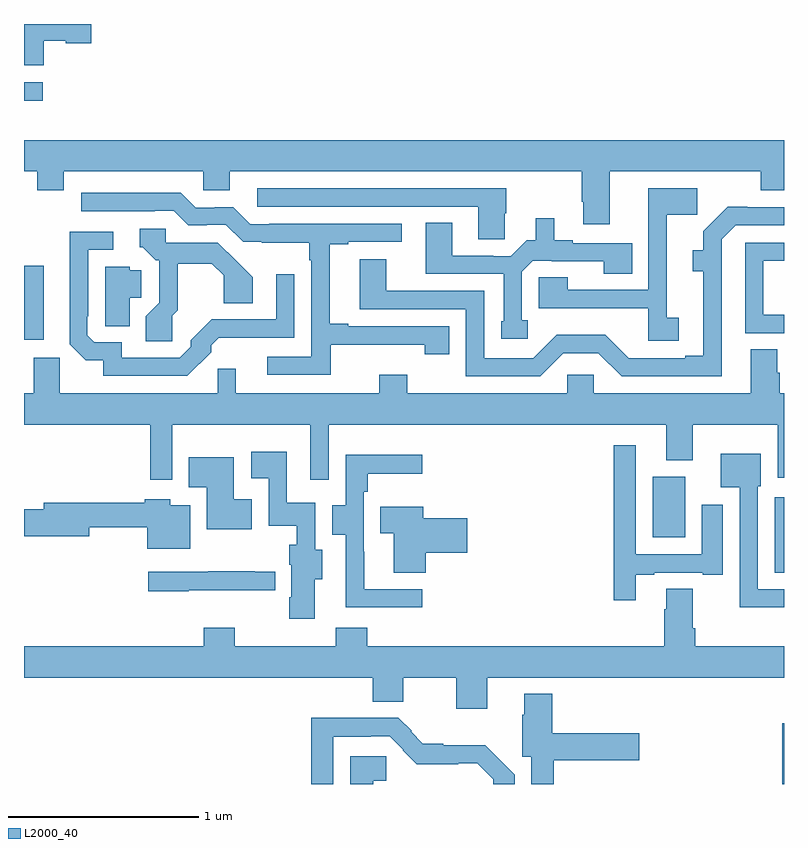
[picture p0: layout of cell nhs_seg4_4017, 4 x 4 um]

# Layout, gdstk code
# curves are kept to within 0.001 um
import gdstk
lib = gdstk.Library(unit=1e-6, precision=1e-09)
def R(c, l, rs):  # rectangles x0, y0, x1, y1
    for r in rs: c.add(gdstk.rectangle(r[:2], r[2:], *l))
def P(c, l, *ps):  # polygons
    for p in ps: c.add(gdstk.Polygon(p, *l))
L2000_40 = (2000, 40)

nhs_seg4_4017 = lib.new_cell('nhs_seg4_4017')
R(nhs_seg4_4017, L2000_40, [(326.992,822.9,327,823.219), (326.951,824.011,327,824.41), (326.309,824.198,326.479,824.518), (323,825.239,323.104,825.628), (323,826.497,323.098,826.593)])
P(nhs_seg4_4017, L2000_40, [(323.104,826.811),(323.22,826.811),(323.22,826.799),(323.353,826.799),(323.353,826.9),(323,826.9),(323,826.682),(323.104,826.682)],
  [(326.083,826.124),(326.878,826.124),(326.878,826.025),(327,826.025),(327,826.288),(323,826.288),(323,826.124),(323.069,826.124),(323.069,826.025),(323.209,826.025),(323.209,826.124),(323.943,826.124),(323.943,826.026),(324.082,826.026),(324.082,826.124),(325.936,826.124),(325.936,825.964),(325.943,825.964),(325.943,825.846),(326.083,825.846)],
  [(326.446,825.354),(326.383,825.354),(326.383,825.897),(326.544,825.897),(326.544,826.036),(326.286,826.036),(326.286,825.501),(325.863,825.501),(325.863,825.566),(325.709,825.566),(325.709,825.405),(325.819,825.405),(325.819,825.404),(326.286,825.404),(326.286,825.234),(326.446,825.234)],
  [(325.529,825.903),(325.539,825.903),(325.539,826.035),(324.228,826.035),(324.228,825.939),(325.391,825.939),(325.391,825.766),(325.529,825.766)],
  [(324.614,825.212),(325.109,825.212),(325.109,825.162),(325.237,825.162),(325.237,825.309),(324.706,825.309),(324.706,825.322),(324.61,825.322),(324.61,825.741),(324.706,825.741),(324.706,825.753),(324.988,825.753),(324.988,825.849),(324.292,825.849),(324.292,825.846),(324.192,825.846),(324.102,825.936),(324.005,825.936),(324.005,825.933),(323.904,825.933),(323.825,826.012),(323.301,826.011),(323.301,825.915),(323.687,825.915),(323.687,825.918),(323.787,825.918),(323.865,825.84),(323.963,825.84),(323.963,825.843),(324.063,825.843),(324.153,825.753),(324.25,825.753),(324.25,825.75),(324.501,825.75),(324.501,825.656),(324.513,825.656),(324.513,825.15),(324.279,825.15),(324.279,825.054),(324.614,825.054)],
  [(325.839,825.168),(326.022,825.168),(326.145,825.045),(326.673,825.045),(326.673,825.768),(326.745,825.84),(327,825.84),(327,825.936),(326.806,825.936),(326.806,825.938),(326.705,825.938),(326.576,825.808),(326.576,825.71),(326.519,825.71),(326.519,825.6),(326.576,825.6),(326.576,825.154),(326.48,825.154),(326.48,825.141),(326.182,825.141),(326.058,825.265),(325.804,825.265),(325.68,825.141),(325.422,825.141),(325.422,825.495),(324.907,825.495),(324.907,825.661),(324.767,825.661),(324.767,825.399),(325.326,825.399),(325.326,825.045),(325.716,825.045)],
  [(325.65,825.342),(325.62,825.342),(325.62,825.597),(325.677,825.654),(325.777,825.654),(325.777,825.651),(326.05,825.651),(326.05,825.586),(326.201,825.586),(326.201,825.747),(325.888,825.747),(325.888,825.762),(325.792,825.762),(325.792,825.877),(325.694,825.877),(325.694,825.762),(325.647,825.762),(325.563,825.678),(325.469,825.678),(325.469,825.681),(325.255,825.681),(325.255,825.854),(325.115,825.854),(325.115,825.585),(325.524,825.585),(325.524,825.336),(325.511,825.336),(325.511,825.243),(325.65,825.243)],
  [(323.781,825.365),(323.81,825.394),(323.81,825.639),(323.989,825.639),(324.051,825.578),(324.051,825.43),(324.205,825.43),(324.205,825.566),(324.019,825.75),(323.745,825.75),(323.745,825.822),(323.609,825.822),(323.609,825.726),(323.625,825.726),(323.694,825.657),(323.712,825.657),(323.712,825.432),(323.642,825.362),(323.642,825.231),(323.781,825.231)],
  [(323.986,825.173),(323.986,825.208),(324.026,825.248),(324.423,825.249),(324.423,825.583),(324.327,825.583),(324.327,825.345),(323.987,825.345),(323.877,825.235),(323.877,825.201),(323.82,825.144),(323.514,825.144),(323.514,825.225),(323.37,825.225),(323.334,825.261),(323.334,825.361),(323.337,825.361),(323.337,825.711),(323.47,825.711),(323.47,825.807),(323.24,825.807),(323.24,825.215),(323.326,825.129),(323.416,825.129),(323.416,825.048),(323.86,825.048)],
  [(327,825.369),(326.892,825.369),(326.892,825.654),(327,825.654),(327,825.75),(326.796,825.75),(326.796,825.273),(327,825.273)],
  [(323.557,825.458),(323.616,825.458),(323.616,825.603),(323.556,825.603),(323.556,825.622),(323.427,825.622),(323.427,825.31),(323.557,825.31)],
  [(325.998,825.054),(325.86,825.054),(325.86,824.956),(325.017,824.956),(325.017,825.055),(324.869,825.055),(324.869,824.956),(324.115,824.956),(324.115,825.086),(324.019,825.086),(324.019,824.956),(323.189,824.956),(323.189,825.144),(323.051,825.144),(323.051,824.956),(323,824.956),(323,824.792),(323.665,824.792),(323.665,824.502),(323.781,824.502),(323.781,824.792),(324.507,824.792),(324.507,824.502),(324.603,824.502),(324.603,824.792),(326.381,824.792),(326.381,824.603),(326.521,824.603),(326.521,824.792),(326.966,824.792),(326.966,824.511),(327,824.511),(327,824.956),(326.978,824.956),(326.978,825.065),(326.964,825.065),(326.964,825.188),(326.825,825.188),(326.825,824.956),(325.998,824.956)],
  [(326.221,824.001),(326.317,824.001),(326.317,824.013),(326.573,824.013),(326.573,824.001),(326.677,824.001),(326.677,824.371),(326.567,824.371),(326.567,824.109),(326.22,824.109),(326.22,824.683),(326.104,824.683),(326.104,823.866),(326.221,823.866)],
  [(324.529,823.978),(324.571,823.978),(324.571,824.133),(324.534,824.133),(324.534,824.38),(324.384,824.38),(324.384,824.65),(324.195,824.65),(324.195,824.51),(324.288,824.51),(324.288,824.258),(324.436,824.258),(324.436,824.158),(324.395,824.158),(324.395,824.054),(324.407,824.054),(324.407,823.882),(324.396,823.882),(324.396,823.77),(324.529,823.77)],
  [(327,823.926),(326.862,823.926),(326.862,824.466),(326.878,824.466),(326.878,824.638),(326.666,824.638),(326.666,824.462),(326.766,824.462),(326.766,823.829),(327,823.829)],
  [(325.096,823.926),(324.79,823.926),(324.79,824.123),(324.789,824.123),(324.789,824.438),(324.809,824.438),(324.809,824.534),(325.096,824.534),(325.096,824.632),(324.693,824.632),(324.693,824.367),(324.623,824.367),(324.623,824.212),(324.693,824.212),(324.693,823.83),(325.096,823.83)],
  [(324.199,824.398),(324.103,824.398),(324.103,824.62),(323.866,824.62),(323.866,824.462),(323.963,824.462),(323.963,824.24),(324.199,824.24)],
  [(323.875,824.368),(323.77,824.368),(323.77,824.398),(323.636,824.398),(323.636,824.38),(323.105,824.38),(323.105,824.346),(323,824.346),(323,824.204),(323.344,824.204),(323.344,824.251),(323.648,824.251),(323.648,824.138),(323.875,824.138)],
  [(325.115,824.117),(325.333,824.117),(325.333,824.3),(325.102,824.3),(325.102,824.359),(324.874,824.359),(324.874,824.219),(324.947,824.219),(324.947,824.011),(325.115,824.011)],
  [(323.867,823.919),(324.322,823.919),(324.322,824.018),(324.215,824.018),(324.215,824.019),(323.971,824.019),(323.971,824.016),(323.655,824.016),(323.655,823.915),(323.867,823.915)],
  [(325.438,823.46),(327,823.46),(327,823.624),(326.534,823.624),(326.534,823.72),(326.521,823.72),(326.521,823.928),(326.381,823.928),(326.381,823.82),(326.369,823.82),(326.369,823.624),(324.806,823.624),(324.806,823.723),(324.641,823.723),(324.641,823.624),(324.11,823.624),(324.11,823.723),(323.945,823.723),(323.945,823.624),(323,823.624),(323,823.46),(324.836,823.46),(324.836,823.334),(324.997,823.334),(324.997,823.46),(325.274,823.46),(325.274,823.296),(325.438,823.296)],
  [(325.787,823.025),(326.239,823.025),(326.239,823.167),(325.781,823.167),(325.781,823.375),(325.634,823.375),(325.634,823.265),(325.622,823.265),(325.622,823.044),(325.671,823.044),(325.671,822.9),(325.787,822.9)],
  [(324.627,823.148),(324.824,823.148),(324.824,823.152),(324.924,823.152),(324.996,823.08),(324.993,823.077),(325.067,823.004),(325.286,823.004),(325.286,823.008),(325.386,823.008),(325.47,822.924),(325.47,822.9),(325.582,822.9),(325.582,822.948),(325.427,823.105),(325.207,823.105),(325.207,823.113),(325.099,823.113),(325.037,823.175),(325.041,823.179),(324.971,823.249),(324.511,823.249),(324.511,822.9),(324.627,822.9)],
  [(324.838,822.917),(324.907,822.917),(324.907,823.046),(324.716,823.046),(324.716,822.9),(324.838,822.9)])

lib.write_gds('nhs_seg4_4017.gds')
